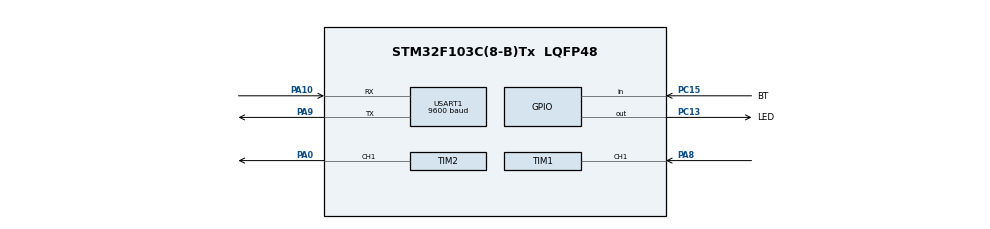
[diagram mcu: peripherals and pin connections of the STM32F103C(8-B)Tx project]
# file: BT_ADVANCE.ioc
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Mcu.Family=STM32F1
Mcu.Name=STM32F103C(8-B)Tx
Mcu.Package=LQFP48
NVIC.PriorityGroup=NVIC_PRIORITYGROUP_4
NVIC.USART1_IRQn=true\:0\:0\:false\:false\:true\:true\:true
PA0-WKUP.Signal=S_TIM2_CH1_ETR
PA10.Mode=Asynchronous
PA10.Signal=USART1_RX
PA13.Mode=Serial_Wire
PA13.Signal=SYS_JTMS-SWDIO
PA14.Mode=Serial_Wire
PA14.Signal=SYS_JTCK-SWCLK
PA8.Signal=S_TIM1_CH1
PA9.Mode=Asynchronous
PA9.Signal=USART1_TX
PC13-TAMPER-RTC.GPIO_Label=LED
PC13-TAMPER-RTC.Signal=GPIO_Output
PC15-OSC32_OUT.GPIO_Label=BT
PC15-OSC32_OUT.GPIO_PuPd=GPIO_PULLUP
PC15-OSC32_OUT.Signal=GPIO_Input
PD0-OSC_IN.Mode=HSE-External-Oscillator
PD0-OSC_IN.Signal=RCC_OSC_IN
PD1-OSC_OUT.Mode=HSE-External-Oscillator
PD1-OSC_OUT.Signal=RCC_OSC_OUT
ProjectManager.HeapSize=0x200
ProjectManager.StackSize=0x400
ProjectManager.TargetToolchain=STM32CubeIDE
RCC.AHBFreq_Value=72000000
RCC.APB1CLKDivider=RCC_HCLK_DIV2
RCC.APB1Freq_Value=36000000
RCC.APB1TimFreq_Value=72000000
RCC.APB2Freq_Value=72000000
RCC.APB2TimFreq_Value=72000000
RCC.HCLKFreq_Value=72000000
RCC.PLLMUL=RCC_PLL_MUL9
RCC.PLLSourceVirtual=RCC_PLLSOURCE_HSE
RCC.SYSCLKFreq_VALUE=72000000
RCC.SYSCLKSource=RCC_SYSCLKSOURCE_PLLCLK
RCC.USBFreq_Value=72000000
SH.S_TIM1_CH1.0=TIM1_CH1,Input_Capture1_from_TI1
SH.S_TIM2_CH1_ETR.0=TIM2_CH1,PWM Generation1 CH1
TIM1.Channel-Input_Capture1_from_TI1=TIM_CHANNEL_1
TIM2.Channel-PWM\ Generation1\ CH1=TIM_CHANNEL_1
USART1.BaudRate=9600
USART1.VirtualMode=VM_ASYNC
VP_TIM1_VS_ClockSourceINT.Mode=Internal
VP_TIM2_VS_ClockSourceINT.Mode=Internal
board=custom

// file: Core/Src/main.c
/* USER CODE BEGIN Header */
/**
 ******************************************************************************
 * @file           : main.c
 * @brief          : Main program body
 ******************************************************************************
 * @attention
 *
 * <h2><center>&copy; Copyright (c) 2023 STMicroelectronics.
 * All rights reserved.</center></h2>
 *
 * This software component is licensed by ST under BSD 3-Clause license,
 * the "License"; You may not use this file except in compliance with the
 * License. You may obtain a copy of the License at:
 *                        opensource.org/licenses/BSD-3-Clause
 *
 ******************************************************************************
 */
/* USER CODE END Header */
#include "main.h"

/* USER CODE BEGIN Includes */
#include "button.h"
//#include "fonts.h"
/* USER CODE END Includes */

TIM_HandleTypeDef htim1;
TIM_HandleTypeDef htim2;

UART_HandleTypeDef huart1;

void SystemClock_Config(void);
static void MX_GPIO_Init(void);
static void MX_USART1_UART_Init(void);
static void MX_TIM1_Init(void);
static void MX_TIM2_Init(void);

/* USER CODE BEGIN 0 */
Button_t bt1;
uint32_t t_prev;
uint32_t press, release, press_timeout;
void bt_release_callback(Button_t *button) {
	if (button == &bt1) {
		release++;
		static uint32_t mess[30];
		sprintf(mess, "Release : %d\r\n", release);
		HAL_UART_Transmit(&huart1, mess, sizeof(mess), 100);
	}
}
void bt_press_timout_callback(Button_t *button) {
	if (button == &bt1) {
		press_timeout++;
		static uint32_t mess[30];
		sprintf(mess, "Press timeout : %d\r\n", press_timeout);
		HAL_UART_Transmit(&huart1, mess, sizeof(mess), 100);
	}
}
void bt_press_callback(Button_t *button) {
	if (button == &bt1) {
		press++;
		static uint32_t mess[30];
		sprintf(mess, "Press : %d\r\n", press);
		HAL_UART_Transmit(&huart1, mess, sizeof(mess), 100);
	}
}
/* USER CODE END 0 */

int main(void) {

	/* MCU Configuration--------------------------------------------------------*/

	/* Reset of all peripherals, Initializes the Flash interface and the Systick. */
	HAL_Init();

	/* Configure the system clock */
	SystemClock_Config();

	/* Initialize all configured peripherals */
	MX_GPIO_Init();
	MX_USART1_UART_Init();
	MX_TIM1_Init();
	MX_TIM2_Init();
	/* USER CODE BEGIN 2 */
	Button_Init(&bt1, BT_GPIO_Port, BT_Pin);
	/* USER CODE END 2 */

	/* Infinite loop */
	/* USER CODE BEGIN WHILE */
	while (1) {
		bt_handle(&bt1);
		if (HAL_GetTick() - t_prev >= 200) {
			HAL_GPIO_TogglePin(LED_GPIO_Port, LED_Pin);
			t_prev = HAL_GetTick();
		}
		/* USER CODE END WHILE */

	}
}

void SystemClock_Config(void) {
RCC_OscInitTypeDef RCC_OscInitStruct = { 0 };
RCC_ClkInitTypeDef RCC_ClkInitStruct = { 0 };

/** Initializes the RCC Oscillators according to the specified parameters
 * in the RCC_OscInitTypeDef structure.
 */
RCC_OscInitStruct.OscillatorType = RCC_OSCILLATORTYPE_HSE;
RCC_OscInitStruct.HSEState = RCC_HSE_ON;
RCC_OscInitStruct.HSEPredivValue = RCC_HSE_PREDIV_DIV1;
RCC_OscInitStruct.HSIState = RCC_HSI_ON;
RCC_OscInitStruct.PLL.PLLState = RCC_PLL_ON;
RCC_OscInitStruct.PLL.PLLSource = RCC_PLLSOURCE_HSE;
RCC_OscInitStruct.PLL.PLLMUL = RCC_PLL_MUL9;
if (HAL_RCC_OscConfig(&RCC_OscInitStruct) != HAL_OK) {
	Error_Handler();
}
/** Initializes the CPU, AHB and APB buses clocks
 */
RCC_ClkInitStruct.ClockType = RCC_CLOCKTYPE_HCLK | RCC_CLOCKTYPE_SYSCLK
		| RCC_CLOCKTYPE_PCLK1 | RCC_CLOCKTYPE_PCLK2;
RCC_ClkInitStruct.SYSCLKSource = RCC_SYSCLKSOURCE_PLLCLK;
RCC_ClkInitStruct.AHBCLKDivider = RCC_SYSCLK_DIV1;
RCC_ClkInitStruct.APB1CLKDivider = RCC_HCLK_DIV2;
RCC_ClkInitStruct.APB2CLKDivider = RCC_HCLK_DIV1;

if (HAL_RCC_ClockConfig(&RCC_ClkInitStruct, FLASH_LATENCY_2) != HAL_OK) {
	Error_Handler();
}
}

static void MX_TIM1_Init(void) {

TIM_ClockConfigTypeDef sClockSourceConfig = { 0 };
TIM_MasterConfigTypeDef sMasterConfig = { 0 };
TIM_IC_InitTypeDef sConfigIC = { 0 };

htim1.Instance = TIM1;
htim1.Init.Prescaler = 0;
htim1.Init.CounterMode = TIM_COUNTERMODE_UP;
htim1.Init.Period = 65535;
htim1.Init.ClockDivision = TIM_CLOCKDIVISION_DIV1;
htim1.Init.RepetitionCounter = 0;
htim1.Init.AutoReloadPreload = TIM_AUTORELOAD_PRELOAD_DISABLE;
if (HAL_TIM_Base_Init(&htim1) != HAL_OK) {
	Error_Handler();
}
sClockSourceConfig.ClockSource = TIM_CLOCKSOURCE_INTERNAL;
if (HAL_TIM_ConfigClockSource(&htim1, &sClockSourceConfig) != HAL_OK) {
	Error_Handler();
}
if (HAL_TIM_IC_Init(&htim1) != HAL_OK) {
	Error_Handler();
}
sMasterConfig.MasterOutputTrigger = TIM_TRGO_RESET;
sMasterConfig.MasterSlaveMode = TIM_MASTERSLAVEMODE_DISABLE;
if (HAL_TIMEx_MasterConfigSynchronization(&htim1, &sMasterConfig) != HAL_OK) {
	Error_Handler();
}
sConfigIC.ICPolarity = TIM_INPUTCHANNELPOLARITY_RISING;
sConfigIC.ICSelection = TIM_ICSELECTION_DIRECTTI;
sConfigIC.ICPrescaler = TIM_ICPSC_DIV1;
sConfigIC.ICFilter = 0;
if (HAL_TIM_IC_ConfigChannel(&htim1, &sConfigIC, TIM_CHANNEL_1) != HAL_OK) {
	Error_Handler();
}

}

static void MX_TIM2_Init(void) {

TIM_ClockConfigTypeDef sClockSourceConfig = { 0 };
TIM_MasterConfigTypeDef sMasterConfig = { 0 };
TIM_OC_InitTypeDef sConfigOC = { 0 };

htim2.Instance = TIM2;
htim2.Init.Prescaler = 0;
htim2.Init.CounterMode = TIM_COUNTERMODE_UP;
htim2.Init.Period = 65535;
htim2.Init.ClockDivision = TIM_CLOCKDIVISION_DIV1;
htim2.Init.AutoReloadPreload = TIM_AUTORELOAD_PRELOAD_DISABLE;
if (HAL_TIM_Base_Init(&htim2) != HAL_OK) {
	Error_Handler();
}
sClockSourceConfig.ClockSource = TIM_CLOCKSOURCE_INTERNAL;
if (HAL_TIM_ConfigClockSource(&htim2, &sClockSourceConfig) != HAL_OK) {
	Error_Handler();
}
if (HAL_TIM_PWM_Init(&htim2) != HAL_OK) {
	Error_Handler();
}
sMasterConfig.MasterOutputTrigger = TIM_TRGO_RESET;
sMasterConfig.MasterSlaveMode = TIM_MASTERSLAVEMODE_DISABLE;
if (HAL_TIMEx_MasterConfigSynchronization(&htim2, &sMasterConfig) != HAL_OK) {
	Error_Handler();
}
sConfigOC.OCMode = TIM_OCMODE_PWM1;
sConfigOC.Pulse = 0;
sConfigOC.OCPolarity = TIM_OCPOLARITY_HIGH;
sConfigOC.OCFastMode = TIM_OCFAST_DISABLE;
if (HAL_TIM_PWM_ConfigChannel(&htim2, &sConfigOC, TIM_CHANNEL_1) != HAL_OK) {
	Error_Handler();
}
HAL_TIM_MspPostInit(&htim2);

}

static void MX_USART1_UART_Init(void) {

huart1.Instance = USART1;
huart1.Init.BaudRate = 9600;
huart1.Init.WordLength = UART_WORDLENGTH_8B;
huart1.Init.StopBits = UART_STOPBITS_1;
huart1.Init.Parity = UART_PARITY_NONE;
huart1.Init.Mode = UART_MODE_TX_RX;
huart1.Init.HwFlowCtl = UART_HWCONTROL_NONE;
huart1.Init.OverSampling = UART_OVERSAMPLING_16;
if (HAL_UART_Init(&huart1) != HAL_OK) {
	Error_Handler();
}

}

static void MX_GPIO_Init(void) {
GPIO_InitTypeDef GPIO_InitStruct = { 0 };

/* GPIO Ports Clock Enable */
__HAL_RCC_GPIOC_CLK_ENABLE();
__HAL_RCC_GPIOD_CLK_ENABLE();
__HAL_RCC_GPIOA_CLK_ENABLE();

/*Configure GPIO pin Output Level */
HAL_GPIO_WritePin(LED_GPIO_Port, LED_Pin, GPIO_PIN_RESET);

/*Configure GPIO pin : LED_Pin */
GPIO_InitStruct.Pin = LED_Pin;
GPIO_InitStruct.Mode = GPIO_MODE_OUTPUT_PP;
GPIO_InitStruct.Pull = GPIO_NOPULL;
GPIO_InitStruct.Speed = GPIO_SPEED_FREQ_LOW;
HAL_GPIO_Init(LED_GPIO_Port, &GPIO_InitStruct);

/*Configure GPIO pin : BT_Pin */
GPIO_InitStruct.Pin = BT_Pin;
GPIO_InitStruct.Mode = GPIO_MODE_INPUT;
GPIO_InitStruct.Pull = GPIO_PULLUP;
HAL_GPIO_Init(BT_GPIO_Port, &GPIO_InitStruct);

}

void Error_Handler(void) {
__disable_irq();
while (1) {
}
}

/************************ (C) COPYRIGHT STMicroelectronics *****END OF FILE****/
